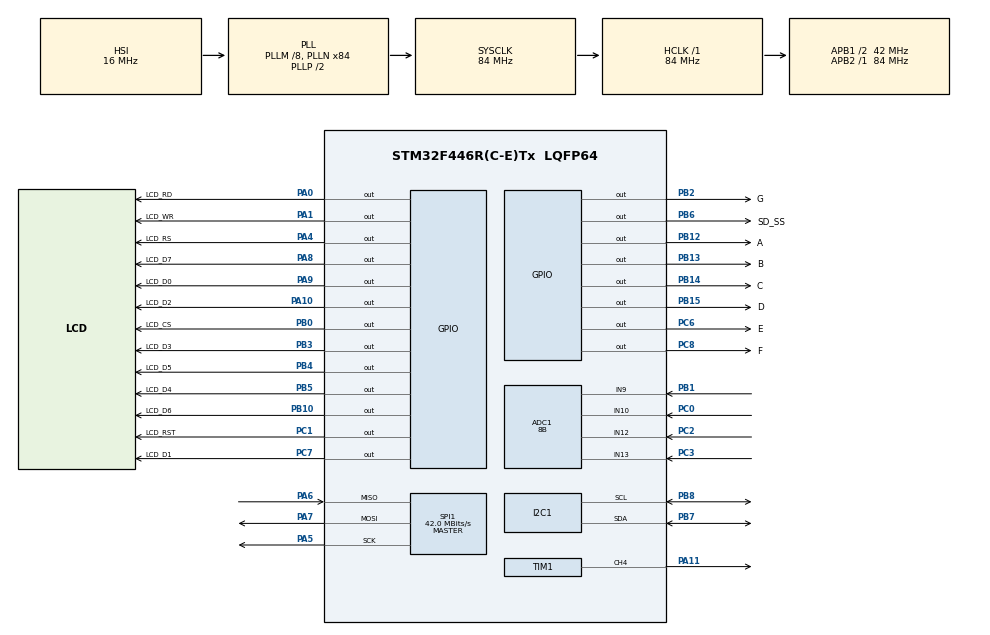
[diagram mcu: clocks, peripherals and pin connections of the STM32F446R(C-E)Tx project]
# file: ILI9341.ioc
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ADC1.Channel-0\#ChannelRegularConversion=ADC_CHANNEL_9
ADC1.Channel-1\#ChannelRegularConversion=ADC_CHANNEL_10
ADC1.Channel-2\#ChannelRegularConversion=ADC_CHANNEL_12
ADC1.Channel-3\#ChannelRegularConversion=ADC_CHANNEL_13
ADC1.ContinuousConvMode=DISABLE
ADC1.DMAContinuousRequests=DISABLE
ADC1.EOCSelection=ADC_EOC_SINGLE_CONV
ADC1.NbrOfConversion=4
ADC1.NbrOfConversionFlag=1
ADC1.Rank-0\#ChannelRegularConversion=1
ADC1.Rank-1\#ChannelRegularConversion=2
ADC1.Rank-2\#ChannelRegularConversion=3
ADC1.Rank-3\#ChannelRegularConversion=4
ADC1.Resolution=ADC_RESOLUTION_8B
ADC1.SamplingTime-0\#ChannelRegularConversion=ADC_SAMPLETIME_15CYCLES
ADC1.SamplingTime-1\#ChannelRegularConversion=ADC_SAMPLETIME_15CYCLES
ADC1.SamplingTime-2\#ChannelRegularConversion=ADC_SAMPLETIME_15CYCLES
ADC1.SamplingTime-3\#ChannelRegularConversion=ADC_SAMPLETIME_15CYCLES
ADC1.ScanConvMode=ENABLE
ADC1.master=1
Dma.ADC1.0.Direction=DMA_PERIPH_TO_MEMORY
Dma.ADC1.0.FIFOMode=DMA_FIFOMODE_DISABLE
Dma.ADC1.0.Instance=DMA2_Stream0
Dma.ADC1.0.MemDataAlignment=DMA_MDATAALIGN_BYTE
Dma.ADC1.0.MemInc=DMA_MINC_ENABLE
Dma.ADC1.0.Mode=DMA_NORMAL
Dma.ADC1.0.PeriphDataAlignment=DMA_PDATAALIGN_BYTE
Dma.ADC1.0.PeriphInc=DMA_PINC_DISABLE
Dma.ADC1.0.Priority=DMA_PRIORITY_LOW
Dma.Request0=ADC1
Dma.Request1=TIM1_CH4/TRIG/COM
Dma.TIM1_CH4/TRIG/COM.1.Direction=DMA_MEMORY_TO_PERIPH
Dma.TIM1_CH4/TRIG/COM.1.FIFOMode=DMA_FIFOMODE_DISABLE
Dma.TIM1_CH4/TRIG/COM.1.Instance=DMA2_Stream4
Dma.TIM1_CH4/TRIG/COM.1.MemDataAlignment=DMA_MDATAALIGN_HALFWORD
Dma.TIM1_CH4/TRIG/COM.1.MemInc=DMA_MINC_ENABLE
Dma.TIM1_CH4/TRIG/COM.1.Mode=DMA_NORMAL
Dma.TIM1_CH4/TRIG/COM.1.PeriphDataAlignment=DMA_PDATAALIGN_HALFWORD
Dma.TIM1_CH4/TRIG/COM.1.PeriphInc=DMA_PINC_DISABLE
Dma.TIM1_CH4/TRIG/COM.1.Priority=DMA_PRIORITY_HIGH
Mcu.Family=STM32F4
Mcu.Name=STM32F446R(C-E)Tx
Mcu.Package=LQFP64
NVIC.DMA2_Stream0_IRQn=true\:0\:0\:false\:false\:true\:false\:true\:true
NVIC.DMA2_Stream4_IRQn=true\:0\:0\:false\:false\:true\:false\:true\:true
NVIC.I2C1_ER_IRQn=true\:0\:0\:false\:false\:true\:true\:true\:true
NVIC.I2C1_EV_IRQn=true\:0\:0\:false\:false\:true\:true\:true\:true
NVIC.PriorityGroup=NVIC_PRIORITYGROUP_4
PA0-WKUP.GPIO_Label=LCD_RD
PA0-WKUP.GPIO_Speed=GPIO_SPEED_FREQ_HIGH
PA0-WKUP.Signal=GPIO_Output
PA1.GPIO_Label=LCD_WR
PA1.GPIO_Speed=GPIO_SPEED_FREQ_HIGH
PA1.Signal=GPIO_Output
PA10.GPIO_Label=LCD_D2
PA10.GPIO_Speed=GPIO_SPEED_FREQ_HIGH
PA10.Signal=GPIO_Output
PA11.Signal=S_TIM1_CH4
PA13.Mode=Serial_Wire
PA13.Signal=SYS_JTMS-SWDIO
PA14.Mode=Serial_Wire
PA14.Signal=SYS_JTCK-SWCLK
PA4.GPIO_Label=LCD_RS
PA4.GPIO_Speed=GPIO_SPEED_FREQ_HIGH
PA4.Signal=GPIO_Output
PA5.Mode=Full_Duplex_Master
PA5.Signal=SPI1_SCK
PA6.Mode=Full_Duplex_Master
PA6.Signal=SPI1_MISO
PA7.Mode=Full_Duplex_Master
PA7.Signal=SPI1_MOSI
PA8.GPIO_Label=LCD_D7
PA8.GPIO_Speed=GPIO_SPEED_FREQ_HIGH
PA8.Signal=GPIO_Output
PA9.GPIO_Label=LCD_D0
PA9.GPIO_Speed=GPIO_SPEED_FREQ_HIGH
PA9.Signal=GPIO_Output
PB0.GPIO_Label=LCD_CS
PB0.GPIO_Speed=GPIO_SPEED_FREQ_HIGH
PB0.Signal=GPIO_Output
PB1.Signal=ADCx_IN9
PB10.GPIO_Label=LCD_D6
PB10.GPIO_Speed=GPIO_SPEED_FREQ_HIGH
PB10.Signal=GPIO_Output
PB12.GPIO_Label=A
PB12.Signal=GPIO_Output
PB13.GPIO_Label=B
PB13.Signal=GPIO_Output
PB14.GPIO_Label=C
PB14.Signal=GPIO_Output
PB15.GPIO_Label=D
PB15.Signal=GPIO_Output
PB2.GPIO_Label=G
PB2.Signal=GPIO_Output
PB3.GPIO_Label=LCD_D3
PB3.GPIO_Speed=GPIO_SPEED_FREQ_HIGH
PB3.Signal=GPIO_Output
PB4.GPIO_Label=LCD_D5
PB4.GPIO_Speed=GPIO_SPEED_FREQ_HIGH
PB4.Signal=GPIO_Output
PB5.GPIO_Label=LCD_D4
PB5.GPIO_Speed=GPIO_SPEED_FREQ_HIGH
PB5.Signal=GPIO_Output
PB6.GPIO_Label=SD_SS
PB6.GPIO_Speed=GPIO_SPEED_FREQ_HIGH
PB6.Signal=GPIO_Output
PB7.Mode=I2C
PB7.Signal=I2C1_SDA
PB8.Mode=I2C
PB8.Signal=I2C1_SCL
PC0.Signal=ADCx_IN10
PC1.GPIO_Label=LCD_RST
PC1.GPIO_Speed=GPIO_SPEED_FREQ_HIGH
PC1.Signal=GPIO_Output
PC2.Signal=ADCx_IN12
PC3.Signal=ADCx_IN13
PC6.GPIO_Label=E
PC6.Signal=GPIO_Output
PC7.GPIO_Label=LCD_D1
PC7.GPIO_Speed=GPIO_SPEED_FREQ_HIGH
PC7.Signal=GPIO_Output
PC8.GPIO_Label=F
PC8.Signal=GPIO_Output
PH0-OSC_IN.Mode=HSE-External-Oscillator
PH0-OSC_IN.Signal=RCC_OSC_IN
PH1-OSC_OUT.Mode=HSE-External-Oscillator
PH1-OSC_OUT.Signal=RCC_OSC_OUT
ProjectManager.HeapSize=0x200
ProjectManager.StackSize=0x400
ProjectManager.TargetToolchain=STM32CubeIDE
RCC.AHBFreq_Value=84000000
RCC.APB1CLKDivider=RCC_HCLK_DIV2
RCC.APB1Freq_Value=42000000
RCC.APB1TimFreq_Value=84000000
RCC.APB2Freq_Value=84000000
RCC.APB2TimFreq_Value=84000000
RCC.CortexFreq_Value=84000000
RCC.HCLKFreq_Value=84000000
RCC.PLLM=8
RCC.PLLN=84
RCC.SYSCLKFreq_VALUE=84000000
RCC.SYSCLKSource=RCC_SYSCLKSOURCE_PLLCLK
RCC.USBFreq_Value=84000000
RCC.VCOOutputFreq_Value=168000000
SH.ADCx_IN10.0=ADC1_IN10,IN10
SH.ADCx_IN12.0=ADC1_IN12,IN12
SH.ADCx_IN13.0=ADC1_IN13,IN13
SH.ADCx_IN9.0=ADC1_IN9,IN9
SH.S_TIM1_CH4.0=TIM1_CH4,PWM Generation4 CH4
SPI1.CalculateBaudRate=42.0 MBits/s
SPI1.Direction=SPI_DIRECTION_2LINES
SPI1.Mode=SPI_MODE_MASTER
SPI1.VirtualType=VM_MASTER
TIM1.Channel-PWM\ Generation4\ CH4=TIM_CHANNEL_4
TIM1.Period=105-1
VP_TIM1_VS_ClockSourceINT.Mode=Internal
board=custom

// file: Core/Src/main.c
/* USER CODE BEGIN Header */
/**
 ******************************************************************************
 * @file           : main.c
 * @brief          : Main program body
 ******************************************************************************
 * @attention
 *
 * Copyright (c) 2024 STMicroelectronics.
 * All rights reserved.
 *
 * This software is licensed under terms that can be found in the LICENSE file
 * in the root directory of this software component.
 * If no LICENSE file comes with this software, it is provided AS-IS.
 *
 ******************************************************************************
 */
/* USER CODE END Header */
#include "main.h"

/* USER CODE BEGIN Includes */
#include "ili9341.h"
#include "Bitmaps.h"
#include <stdint.h>
#include <string.h>
#include <stdio.h>
#include "Neopixel.h"
/* USER CODE END Includes */

ADC_HandleTypeDef hadc1;
DMA_HandleTypeDef hdma_adc1;

I2C_HandleTypeDef hi2c1;

SPI_HandleTypeDef hspi1;

TIM_HandleTypeDef htim1;
DMA_HandleTypeDef hdma_tim1_ch4_trig_com;

/* USER CODE BEGIN PV */
extern uint16_t FONDO_PARQUEO[];
volatile uint8_t PARQUEO_ADC[4];
/* 0 = libre, 1 = ocupado */
/* 0 = libre, 1 = ocupado */
volatile uint8_t P_CARRO_ROJO = 0;
volatile uint8_t P_CARRO_VERDE = 0;
volatile uint8_t P_CARRO_ROSADO_CLARO = 0;
volatile uint8_t P_CARRO_AMARILLO_CLARO = 0;

/* Conteo de parqueos disponibles */
volatile uint8_t cont_parqueos = 8;

/* Umbral de detección */
#define UMBRAL_LDR 100
volatile uint8_t cont_parqueos_anterior = 255;
float brilloled = 30.0f;
uint8_t neo_estado_anterior = 255;

uint8_t rxCommand = 0;
uint8_t txEstado = 0;
uint8_t byteRecibidoESP = 0;

/* USER CODE END PV */

void SystemClock_Config(void);
static void MX_GPIO_Init(void);
static void MX_DMA_Init(void);
static void MX_SPI1_Init(void);
static void MX_ADC1_Init(void);
static void MX_I2C1_Init(void);
static void MX_TIM1_Init(void);

int main(void)
{

  /* MCU Configuration--------------------------------------------------------*/

  /* Reset of all peripherals, Initializes the Flash interface and the Systick. */
  HAL_Init();

  /* Configure the system clock */
  SystemClock_Config();

  /* Initialize all configured peripherals */
  MX_GPIO_Init();
  MX_DMA_Init();
  MX_SPI1_Init();
  MX_ADC1_Init();
  MX_I2C1_Init();
  MX_TIM1_Init();
  /* USER CODE BEGIN 2 */

	LCD_Init();

		LCD_Clear(0x536f);
		LCD_Bitmap(0, 0, 220, 240, FONDO_PARQUEO);
		LCD_Bitmap(0, 0, 150, 20, nombre);
		LCD_Bitmap(228, 0, 80, 50, parqueos_disp);
		//Pruebas de posiciones
		//LCD_Bitmap(13, 53, 38, 61, CARRO_AMARILLO);
		LCD_Bitmap(13, 25, 38, 25, indicador);
		//LCD_Bitmap(67, 53, 38, 61, CARRO_ROSADO);
		LCD_Bitmap(67, 25, 38, 25, indicador);
		//LCD_Bitmap(118, 53, 38, 61, CARRO_CELESTE);
		LCD_Bitmap(118, 25, 38, 25, indicador);
		//LCD_Bitmap(170, 53, 38, 61, CARRO_MORADO);
		LCD_Bitmap(170, 25, 38, 25, indicador);
		//LCD_Bitmap(13, 129, 38, 61, CARRO_ROJO);
		LCD_Bitmap(13, 193, 38, 25, indicador);
		//LCD_Bitmap(67, 129, 38, 61, CARRO_VERDE);
		LCD_Bitmap(67, 193, 38, 25, indicador);
		//LCD_Bitmap(118, 129, 38, 61, CARRO_ROSADO_CLARO);
		LCD_Bitmap(118, 193, 38, 25, indicador);
		//LCD_Bitmap(170, 129, 38, 61, CARRO_AMARILLO_CLARO);
		LCD_Bitmap(170, 193, 38, 25, indicador);
		LCD_Bitmap(228, 53, 80, 136, DISPLAY8);
		HAL_ADC_Start_DMA(&hadc1, (uint32_t*)PARQUEO_ADC, 4);

		/* Todos inician libres: verde */
		setBrightness(30);

		setPixelColor(0, 0, 255, 0);
		setPixelColor(1, 0, 255, 0);
		setPixelColor(2, 0, 255, 0);
		setPixelColor(3, 0, 255, 0);

		pixelShow();

		neo_estado_anterior = 0;

		HAL_I2C_EnableListen_IT(&hi2c1);
  /* USER CODE END 2 */

  /* Infinite loop */
  /* USER CODE BEGIN WHILE */
	while (1) {
		/* -------------------------------------------------
			   LEER LOS 4 ADC CON DMA
			   ------------------------------------------------- */
			HAL_ADC_Start_DMA(&hadc1, (uint32_t*)PARQUEO_ADC, 4);
			HAL_Delay(20);
			HAL_ADC_Stop_DMA(&hadc1);

			/* Variables para saber qué parqueos cambiaron */
			uint8_t cambio_amarillo = 0;
			uint8_t cambio_rosado = 0;
			uint8_t cambio_verde = 0;
			uint8_t cambio_rojo = 0;

			/* -------------------------------------------------
			   PARQUEO 1 - AMARILLO CLARO
			   ------------------------------------------------- */
			uint8_t nuevo_amarillo = (PARQUEO_ADC[0] < 40) ? 1 : 0;

			if(nuevo_amarillo != P_CARRO_AMARILLO_CLARO)
			{
				P_CARRO_AMARILLO_CLARO = nuevo_amarillo;
				cambio_amarillo = 1;

				if(P_CARRO_AMARILLO_CLARO == 1)
					cont_parqueos--;
				else
					cont_parqueos++;
			}

			/* -------------------------------------------------
			   PARQUEO 2 - ROSADO CLARO
			   ------------------------------------------------- */
			uint8_t nuevo_rosado = (PARQUEO_ADC[1] < UMBRAL_LDR) ? 1 : 0;

			if(nuevo_rosado != P_CARRO_ROSADO_CLARO)
			{
				P_CARRO_ROSADO_CLARO = nuevo_rosado;
				cambio_rosado = 1;

				if(P_CARRO_ROSADO_CLARO == 1)
					cont_parqueos--;
				else
					cont_parqueos++;
			}

			/* -------------------------------------------------
			   PARQUEO 3 - VERDE
			   ------------------------------------------------- */
			uint8_t nuevo_verde = (PARQUEO_ADC[2] < UMBRAL_LDR) ? 1 : 0;

			if(nuevo_verde != P_CARRO_VERDE)
			{
				P_CARRO_VERDE = nuevo_verde;
				cambio_verde = 1;

				if(P_CARRO_VERDE == 1)
					cont_parqueos--;
				else
					cont_parqueos++;
			}

			/* -------------------------------------------------
			   PARQUEO 4 - ROJO
			   ------------------------------------------------- */
			uint8_t nuevo_rojo = (PARQUEO_ADC[3] < UMBRAL_LDR) ? 1 : 0;

			if(nuevo_rojo != P_CARRO_ROJO)
			{
				P_CARRO_ROJO = nuevo_rojo;
				cambio_rojo = 1;

				if(P_CARRO_ROJO == 1)
					cont_parqueos--;
				else
					cont_parqueos++;
			}

			/* -------------------------------------------------
			   ACTUALIZAR NEOPIXEL
			   Libre = verde
			   Ocupado = rojo
			   ------------------------------------------------- */
			uint8_t neo_estado_actual =
					(P_CARRO_AMARILLO_CLARO << 0)
					| (P_CARRO_ROSADO_CLARO << 1)
					| (P_CARRO_VERDE << 2)
					| (P_CARRO_ROJO << 3);

			txEstado = neo_estado_actual;

			if(neo_estado_actual != neo_estado_anterior)
			{
				/* LED 0 - Parqueo amarillo claro */
				if(P_CARRO_AMARILLO_CLARO == 1)
					setPixelColor(0, 255, 0, 0);   // Rojo = ocupado
				else
					setPixelColor(0, 0, 255, 0);   // Verde = libre

				/* LED 1 - Parqueo rosado claro */
				if(P_CARRO_ROSADO_CLARO == 1)
					setPixelColor(1, 255, 0, 0);
				else
					setPixelColor(1, 0, 255, 0);

				/* LED 2 - Parqueo verde */
				if(P_CARRO_VERDE == 1)
					setPixelColor(2, 255, 0, 0);
				else
					setPixelColor(2, 0, 255, 0);

				/* LED 3 - Parqueo rojo */
				if(P_CARRO_ROJO == 1)
					setPixelColor(3, 255, 0, 0);
				else
					setPixelColor(3, 0, 255, 0);

				pixelShow();

				neo_estado_anterior = neo_estado_actual;
			}

			/* -------------------------------------------------
			   REDIBUJAR TFT SOLO SI ESE PARQUEO CAMBIÓ
			   ------------------------------------------------- */

			if(cambio_amarillo)
			{
				if(P_CARRO_AMARILLO_CLARO == 1)
					LCD_Bitmap(170, 129, 38, 61, CARRO_AMARILLO_CLARO);
				else
					FillRect(170, 129, 38, 61, 0x536f);
			}

			if(cambio_rosado)
			{
				if(P_CARRO_ROSADO_CLARO == 1)
					LCD_Bitmap(118, 129, 38, 61, CARRO_ROSADO_CLARO);
				else
					FillRect(118, 129, 38, 61, 0x536f);
			}

			if(cambio_verde)
			{
				if(P_CARRO_VERDE == 1)
					LCD_Bitmap(67, 129, 38, 61, CARRO_VERDE);
				else
					FillRect(67, 129, 38, 61, 0x536f);
			}

			if(cambio_rojo)
			{
				if(P_CARRO_ROJO == 1)
					LCD_Bitmap(13, 129, 38, 61, CARRO_ROJO);
				else
					FillRect(13, 129, 38, 61, 0x536f);
			}

			/* -------------------------------------------------
			   ACTUALIZAR CONTADOR DE PARQUEOS DISPONIBLES
			   ------------------------------------------------- */
			if(cont_parqueos != cont_parqueos_anterior)
			{
				switch(cont_parqueos)
				{
					case 0:
						LCD_Bitmap(228, 53, 80, 136, DISPLAY0);
						break;

					case 1:
						LCD_Bitmap(228, 53, 80, 136, DISPLAY1);
						break;

					case 2:
						LCD_Bitmap(228, 53, 80, 136, DISPLAY2);
						break;

					case 3:
						LCD_Bitmap(228, 53, 80, 136, DISPLAY3);
						break;

					case 4:
						LCD_Bitmap(228, 53, 80, 136, DISPLAY4);
						break;

					case 5:
						LCD_Bitmap(228, 53, 80, 136, DISPLAY5);
						break;

					case 6:
						LCD_Bitmap(228, 53, 80, 136, DISPLAY6);
						break;

					case 7:
						LCD_Bitmap(228, 53, 80, 136, DISPLAY7);
						break;

					case 8:
						LCD_Bitmap(228, 53, 80, 136, DISPLAY8);
						break;
				}

				cont_parqueos_anterior = cont_parqueos;
			}

    /* USER CODE END WHILE */

    /* USER CODE BEGIN 3 */

//
//				for (int x = 0; x < 319-42; x++) {
//					int anim = (x/10)%4;
//					// anim 0 1 2 3
//					LCD_Sprite(x, 116-29, 42, 29, link, 4, anim, 0, 0);
//					//V_line( x -1, 100, 50, 0x0DFE);
//					HAL_Delay(15);
//
//				}
//				for (int var = 319-24; var > 0;  var--) {
//					int anim = (var / 10) % 4;
//					LCD_Sprite(var, 100, 24, 30, sonics, 4, anim, 1, 0);
//					V_line(var + 24, 100, 30, 0x0DFE);
//					HAL_Delay(15);
//				}
//
//		for (int x = 0; x < 319-24; x++) {
//			int anim = (x/10)%4;
//			// anim 0 1 2 3
//			LCD_Sprite(x, 100, 24, 30, sonics, 4, anim, 0, 0);
//			V_line( x -1, 100, 30, 0x0DFE);
//			HAL_Delay(15);
//
//		}
//		for (int var = 319-24; var > 0;  var--) {
//			int anim = (var / 10) % 4;
//			LCD_Sprite(var, 100, 24, 30, sonics, 4, anim, 1, 0);
//			V_line(var + 24, 100, 30, 0x0DFE);
//			HAL_Delay(15);
//		}

//		for (int var = 0; var < 319-26;  var++) {
//			 int anim = (var / 5) % 4;
//			LCD_Sprite(var,100,26,16,link,4,anim,0,0);
//			V_line( var -1, 100, 16, 0x4d9e);
//			 HAL_Delay(15);
//		}
//		for (int var = 319-26; var > 0;  var--) {
//					 int anim = (var / 5) % 4;
//					LCD_Sprite(var,100,26,16,link,4,anim,1,0);
//					V_line( var +27, 100, 16, 0x4d9e);
//					 HAL_Delay(15);
//				}
//
//		for (int x = 0; x < 320 - 16; x++) {
//		    int anim2 = (x / 10) % 4;
//		    LCD_Sprite(x,100,16,16,kirbys,4,anim2,0,0);
//		    V_line( x -1, 100, 16, 0x74DA);
//		    HAL_Delay(15);
//		  }
//		  for (int x = 320-16; x > 0; x--) {
//		    int anim2 = (x / 10) % 4;
//		    LCD_Sprite(x,100,16,16,kirbys,4,anim2,1,0);
//		    V_line( x +16, 100, 16, 0x74DA);
//		    HAL_Delay(15);
//		  }

	}
  /* USER CODE END 3 */
}

void SystemClock_Config(void)
{
  RCC_OscInitTypeDef RCC_OscInitStruct = {0};
  RCC_ClkInitTypeDef RCC_ClkInitStruct = {0};

  /** Configure the main internal regulator output voltage
  */
  __HAL_RCC_PWR_CLK_ENABLE();
  __HAL_PWR_VOLTAGESCALING_CONFIG(PWR_REGULATOR_VOLTAGE_SCALE3);

  /** Initializes the RCC Oscillators according to the specified parameters
  * in the RCC_OscInitTypeDef structure.
  */
  RCC_OscInitStruct.OscillatorType = RCC_OSCILLATORTYPE_HSI;
  RCC_OscInitStruct.HSIState = RCC_HSI_ON;
  RCC_OscInitStruct.HSICalibrationValue = RCC_HSICALIBRATION_DEFAULT;
  RCC_OscInitStruct.PLL.PLLState = RCC_PLL_ON;
  RCC_OscInitStruct.PLL.PLLSource = RCC_PLLSOURCE_HSI;
  RCC_OscInitStruct.PLL.PLLM = 8;
  RCC_OscInitStruct.PLL.PLLN = 84;
  RCC_OscInitStruct.PLL.PLLP = RCC_PLLP_DIV2;
  RCC_OscInitStruct.PLL.PLLQ = 2;
  RCC_OscInitStruct.PLL.PLLR = 2;
  if (HAL_RCC_OscConfig(&RCC_OscInitStruct) != HAL_OK)
  {
    Error_Handler();
  }

  /** Initializes the CPU, AHB and APB buses clocks
  */
  RCC_ClkInitStruct.ClockType = RCC_CLOCKTYPE_HCLK|RCC_CLOCKTYPE_SYSCLK
                              |RCC_CLOCKTYPE_PCLK1|RCC_CLOCKTYPE_PCLK2;
  RCC_ClkInitStruct.SYSCLKSource = RCC_SYSCLKSOURCE_PLLCLK;
  RCC_ClkInitStruct.AHBCLKDivider = RCC_SYSCLK_DIV1;
  RCC_ClkInitStruct.APB1CLKDivider = RCC_HCLK_DIV2;
  RCC_ClkInitStruct.APB2CLKDivider = RCC_HCLK_DIV1;

  if (HAL_RCC_ClockConfig(&RCC_ClkInitStruct, FLASH_LATENCY_2) != HAL_OK)
  {
    Error_Handler();
  }
}

static void MX_ADC1_Init(void)
{

  ADC_ChannelConfTypeDef sConfig = {0};

  /** Configure the global features of the ADC (Clock, Resolution, Data Alignment and number of conversion)
  */
  hadc1.Instance = ADC1;
  hadc1.Init.ClockPrescaler = ADC_CLOCK_SYNC_PCLK_DIV4;
  hadc1.Init.Resolution = ADC_RESOLUTION_8B;
  hadc1.Init.ScanConvMode = ENABLE;
  hadc1.Init.ContinuousConvMode = DISABLE;
  hadc1.Init.DiscontinuousConvMode = DISABLE;
  hadc1.Init.ExternalTrigConvEdge = ADC_EXTERNALTRIGCONVEDGE_NONE;
  hadc1.Init.ExternalTrigConv = ADC_SOFTWARE_START;
  hadc1.Init.DataAlign = ADC_DATAALIGN_RIGHT;
  hadc1.Init.NbrOfConversion = 4;
  hadc1.Init.DMAContinuousRequests = DISABLE;
  hadc1.Init.EOCSelection = ADC_EOC_SINGLE_CONV;
  if (HAL_ADC_Init(&hadc1) != HAL_OK)
  {
    Error_Handler();
  }

  /** Configure for the selected ADC regular channel its corresponding rank in the sequencer and its sample time.
  */
  sConfig.Channel = ADC_CHANNEL_9;
  sConfig.Rank = 1;
  sConfig.SamplingTime = ADC_SAMPLETIME_15CYCLES;
  if (HAL_ADC_ConfigChannel(&hadc1, &sConfig) != HAL_OK)
  {
    Error_Handler();
  }

  /** Configure for the selected ADC regular channel its corresponding rank in the sequencer and its sample time.
  */
  sConfig.Channel = ADC_CHANNEL_10;
  sConfig.Rank = 2;
  if (HAL_ADC_ConfigChannel(&hadc1, &sConfig) != HAL_OK)
  {
    Error_Handler();
  }

  /** Configure for the selected ADC regular channel its corresponding rank in the sequencer and its sample time.
  */
  sConfig.Channel = ADC_CHANNEL_12;
  sConfig.Rank = 3;
  if (HAL_ADC_ConfigChannel(&hadc1, &sConfig) != HAL_OK)
  {
    Error_Handler();
  }

  /** Configure for the selected ADC regular channel its corresponding rank in the sequencer and its sample time.
  */
  sConfig.Channel = ADC_CHANNEL_13;
  sConfig.Rank = 4;
  if (HAL_ADC_ConfigChannel(&hadc1, &sConfig) != HAL_OK)
  {
    Error_Handler();
  }

}

static void MX_I2C1_Init(void)
{

  hi2c1.Instance = I2C1;
  hi2c1.Init.ClockSpeed = 100000;
  hi2c1.Init.DutyCycle = I2C_DUTYCYCLE_2;
  hi2c1.Init.OwnAddress1 = 40;
  hi2c1.Init.AddressingMode = I2C_ADDRESSINGMODE_7BIT;
  hi2c1.Init.DualAddressMode = I2C_DUALADDRESS_DISABLE;
  hi2c1.Init.OwnAddress2 = 0;
  hi2c1.Init.GeneralCallMode = I2C_GENERALCALL_DISABLE;
  hi2c1.Init.NoStretchMode = I2C_NOSTRETCH_DISABLE;
  if (HAL_I2C_Init(&hi2c1) != HAL_OK)
  {
    Error_Handler();
  }

}

static void MX_SPI1_Init(void)
{

  /* SPI1 parameter configuration*/
  hspi1.Instance = SPI1;
  hspi1.Init.Mode = SPI_MODE_MASTER;
  hspi1.Init.Direction = SPI_DIRECTION_2LINES;
  hspi1.Init.DataSize = SPI_DATASIZE_8BIT;
  hspi1.Init.CLKPolarity = SPI_POLARITY_LOW;
  hspi1.Init.CLKPhase = SPI_PHASE_1EDGE;
  hspi1.Init.NSS = SPI_NSS_SOFT;
  hspi1.Init.BaudRatePrescaler = SPI_BAUDRATEPRESCALER_2;
  hspi1.Init.FirstBit = SPI_FIRSTBIT_MSB;
  hspi1.Init.TIMode = SPI_TIMODE_DISABLE;
  hspi1.Init.CRCCalculation = SPI_CRCCALCULATION_DISABLE;
  hspi1.Init.CRCPolynomial = 10;
  if (HAL_SPI_Init(&hspi1) != HAL_OK)
  {
    Error_Handler();
  }

}

static void MX_TIM1_Init(void)
{

  TIM_ClockConfigTypeDef sClockSourceConfig = {0};
  TIM_MasterConfigTypeDef sMasterConfig = {0};
  TIM_OC_InitTypeDef sConfigOC = {0};
  TIM_BreakDeadTimeConfigTypeDef sBreakDeadTimeConfig = {0};

  htim1.Instance = TIM1;
  htim1.Init.Prescaler = 0;
  htim1.Init.CounterMode = TIM_COUNTERMODE_UP;
  htim1.Init.Period = 105-1;
  htim1.Init.ClockDivision = TIM_CLOCKDIVISION_DIV1;
  htim1.Init.RepetitionCounter = 0;
  htim1.Init.AutoReloadPreload = TIM_AUTORELOAD_PRELOAD_DISABLE;
  if (HAL_TIM_Base_Init(&htim1) != HAL_OK)
  {
    Error_Handler();
  }
  sClockSourceConfig.ClockSource = TIM_CLOCKSOURCE_INTERNAL;
  if (HAL_TIM_ConfigClockSource(&htim1, &sClockSourceConfig) != HAL_OK)
  {
    Error_Handler();
  }
  if (HAL_TIM_PWM_Init(&htim1) != HAL_OK)
  {
    Error_Handler();
  }
  sMasterConfig.MasterOutputTrigger = TIM_TRGO_RESET;
  sMasterConfig.MasterSlaveMode = TIM_MASTERSLAVEMODE_DISABLE;
  if (HAL_TIMEx_MasterConfigSynchronization(&htim1, &sMasterConfig) != HAL_OK)
  {
    Error_Handler();
  }
  sConfigOC.OCMode = TIM_OCMODE_PWM1;
  sConfigOC.Pulse = 0;
  sConfigOC.OCPolarity = TIM_OCPOLARITY_HIGH;
  sConfigOC.OCFastMode = TIM_OCFAST_DISABLE;
  sConfigOC.OCIdleState = TIM_OCIDLESTATE_RESET;
  sConfigOC.OCNIdleState = TIM_OCNIDLESTATE_RESET;
  if (HAL_TIM_PWM_ConfigChannel(&htim1, &sConfigOC, TIM_CHANNEL_4) != HAL_OK)
  {
    Error_Handler();
  }
  sBreakDeadTimeConfig.OffStateRunMode = TIM_OSSR_DISABLE;
  sBreakDeadTimeConfig.OffStateIDLEMode = TIM_OSSI_DISABLE;
  sBreakDeadTimeConfig.LockLevel = TIM_LOCKLEVEL_OFF;
  sBreakDeadTimeConfig.DeadTime = 0;
  sBreakDeadTimeConfig.BreakState = TIM_BREAK_DISABLE;
  sBreakDeadTimeConfig.BreakPolarity = TIM_BREAKPOLARITY_HIGH;
  sBreakDeadTimeConfig.AutomaticOutput = TIM_AUTOMATICOUTPUT_DISABLE;
  if (HAL_TIMEx_ConfigBreakDeadTime(&htim1, &sBreakDeadTimeConfig) != HAL_OK)
  {
    Error_Handler();
  }
  HAL_TIM_MspPostInit(&htim1);

}

static void MX_DMA_Init(void)
{

  /* DMA controller clock enable */
  __HAL_RCC_DMA2_CLK_ENABLE();

  /* DMA interrupt init */
  /* DMA2_Stream0_IRQn interrupt configuration */
  HAL_NVIC_SetPriority(DMA2_Stream0_IRQn, 0, 0);
  HAL_NVIC_EnableIRQ(DMA2_Stream0_IRQn);
  /* DMA2_Stream4_IRQn interrupt configuration */
  HAL_NVIC_SetPriority(DMA2_Stream4_IRQn, 0, 0);
  HAL_NVIC_EnableIRQ(DMA2_Stream4_IRQn);

}

static void MX_GPIO_Init(void)
{
  GPIO_InitTypeDef GPIO_InitStruct = {0};

  /* GPIO Ports Clock Enable */
  __HAL_RCC_GPIOH_CLK_ENABLE();
  __HAL_RCC_GPIOC_CLK_ENABLE();
  __HAL_RCC_GPIOA_CLK_ENABLE();
  __HAL_RCC_GPIOB_CLK_ENABLE();

  /*Configure GPIO pin Output Level */
  HAL_GPIO_WritePin(GPIOC, LCD_RST_Pin|E_Pin|LCD_D1_Pin|F_Pin, GPIO_PIN_RESET);

  /*Configure GPIO pin Output Level */
  HAL_GPIO_WritePin(GPIOA, LCD_RD_Pin|LCD_WR_Pin|LCD_RS_Pin|LCD_D7_Pin
                          |LCD_D0_Pin|LCD_D2_Pin, GPIO_PIN_RESET);

  /*Configure GPIO pin Output Level */
  HAL_GPIO_WritePin(GPIOB, LCD_CS_Pin|G_Pin|LCD_D6_Pin|A_Pin
                          |B_Pin|C_Pin|D_Pin|LCD_D3_Pin
                          |LCD_D5_Pin|LCD_D4_Pin|SD_SS_Pin, GPIO_PIN_RESET);

  /*Configure GPIO pins : LCD_RST_Pin LCD_D1_Pin */
  GPIO_InitStruct.Pin = LCD_RST_Pin|LCD_D1_Pin;
  GPIO_InitStruct.Mode = GPIO_MODE_OUTPUT_PP;
  GPIO_InitStruct.Pull = GPIO_NOPULL;
  GPIO_InitStruct.Speed = GPIO_SPEED_FREQ_HIGH;
  HAL_GPIO_Init(GPIOC, &GPIO_InitStruct);

  /*Configure GPIO pins : LCD_RD_Pin LCD_WR_Pin LCD_RS_Pin LCD_D7_Pin
                           LCD_D0_Pin LCD_D2_Pin */
  GPIO_InitStruct.Pin = LCD_RD_Pin|LCD_WR_Pin|LCD_RS_Pin|LCD_D7_Pin
                          |LCD_D0_Pin|LCD_D2_Pin;
  GPIO_InitStruct.Mode = GPIO_MODE_OUTPUT_PP;
  GPIO_InitStruct.Pull = GPIO_NOPULL;
  GPIO_InitStruct.Speed = GPIO_SPEED_FREQ_HIGH;
  HAL_GPIO_Init(GPIOA, &GPIO_InitStruct);

  /*Configure GPIO pins : LCD_CS_Pin LCD_D6_Pin LCD_D3_Pin LCD_D5_Pin
                           LCD_D4_Pin SD_SS_Pin */
  GPIO_InitStruct.Pin = LCD_CS_Pin|LCD_D6_Pin|LCD_D3_Pin|LCD_D5_Pin
                          |LCD_D4_Pin|SD_SS_Pin;
  GPIO_InitStruct.Mode = GPIO_MODE_OUTPUT_PP;
  GPIO_InitStruct.Pull = GPIO_NOPULL;
  GPIO_InitStruct.Speed = GPIO_SPEED_FREQ_HIGH;
  HAL_GPIO_Init(GPIOB, &GPIO_InitStruct);

  /*Configure GPIO pins : G_Pin A_Pin B_Pin C_Pin
                           D_Pin */
  GPIO_InitStruct.Pin = G_Pin|A_Pin|B_Pin|C_Pin
                          |D_Pin;
  GPIO_InitStruct.Mode = GPIO_MODE_OUTPUT_PP;
  GPIO_InitStruct.Pull = GPIO_NOPULL;
  GPIO_InitStruct.Speed = GPIO_SPEED_FREQ_LOW;
  HAL_GPIO_Init(GPIOB, &GPIO_InitStruct);

  /*Configure GPIO pins : E_Pin F_Pin */
  GPIO_InitStruct.Pin = E_Pin|F_Pin;
  GPIO_InitStruct.Mode = GPIO_MODE_OUTPUT_PP;
  GPIO_InitStruct.Pull = GPIO_NOPULL;
  GPIO_InitStruct.Speed = GPIO_SPEED_FREQ_LOW;
  HAL_GPIO_Init(GPIOC, &GPIO_InitStruct);

}

/* USER CODE BEGIN 4 */

void HAL_I2C_AddrCallback(
    I2C_HandleTypeDef *hi2c,
    uint8_t TransferDirection,
    uint16_t AddrMatchCode)
{
    if(hi2c->Instance == I2C1)
    {
        if(TransferDirection == I2C_DIRECTION_TRANSMIT)
        {
            HAL_I2C_Slave_Seq_Receive_IT(
                hi2c,
                &rxCommand,
                1,
                I2C_LAST_FRAME
            );
        }

        if(TransferDirection == I2C_DIRECTION_RECEIVE)
        {
            HAL_I2C_Slave_Seq_Transmit_IT(
                hi2c,
                &txEstado,
                1,
                I2C_LAST_FRAME
            );
        }
    }
}

void HAL_I2C_SlaveRxCpltCallback(I2C_HandleTypeDef *hi2c)
{
    if(hi2c->Instance == I2C1)
    {
        byteRecibidoESP = rxCommand;
    }
}

void HAL_I2C_ListenCpltCallback(I2C_HandleTypeDef *hi2c)
{
    HAL_I2C_EnableListen_IT(&hi2c1);
}

void HAL_I2C_ErrorCallback(I2C_HandleTypeDef *hi2c)
{
    HAL_I2C_EnableListen_IT(&hi2c1);
}

/* USER CODE END 4 */

void Error_Handler(void)
{
	__disable_irq();
	while (1) {
	}
}
